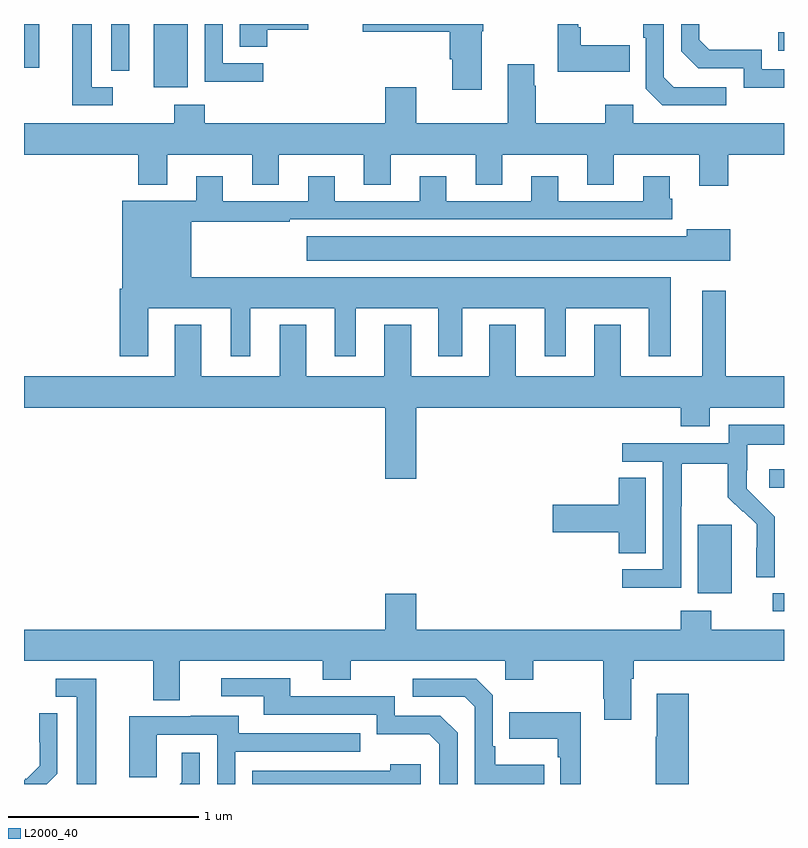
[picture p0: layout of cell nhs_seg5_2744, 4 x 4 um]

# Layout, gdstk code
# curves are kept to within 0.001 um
import gdstk
lib = gdstk.Library(unit=1e-6, precision=1e-09)
def R(c, l, rs):  # rectangles x0, y0, x1, y1
    for r in rs: c.add(gdstk.rectangle(r[:2], r[2:], *l))
def P(c, l, *ps):  # polygons
    for p in ps: c.add(gdstk.Polygon(p, *l))
L2000_40 = (2000, 40)

nhs_seg5_2744 = lib.new_cell('nhs_seg5_2744')
R(nhs_seg5_2744, L2000_40, [(274.941,835.707,275,835.803), (274.547,835.802,274.726,836.163), (274.923,836.358,275,836.455), (271.682,838.466,271.861,838.799), (271,838.569,271.081,838.799), (274.969,838.659,275,838.755)])
P(nhs_seg5_2744, L2000_40, [(275,838.56),(274.884,838.56),(274.884,838.663),(274.607,838.663),(274.554,838.716),(274.554,838.799),(274.458,838.799),(274.458,838.656),(274.548,838.566),(274.788,838.566),(274.788,838.464),(275,838.464)],
  [(274.187,838.687),(273.931,838.687),(273.931,838.783),(273.918,838.783),(273.918,838.799),(273.81,838.799),(273.81,838.547),(274.187,838.547)],
  [(274.696,838.467),(274.419,838.467),(274.368,838.518),(274.368,838.799),(274.26,838.799),(274.26,838.727),(274.272,838.727),(274.272,838.458),(274.359,838.371),(274.696,838.371)],
  [(272.26,838.593),(272.046,838.593),(272.046,838.799),(271.95,838.799),(271.95,838.495),(272.26,838.495)],
  [(271.554,838.706),(271.553,838.706),(271.553,838.799),(271.458,838.799),(271.458,838.552),(271.554,838.552)],
  [(272.279,838.769),(272.497,838.769),(272.497,838.799),(272.135,838.799),(272.135,838.678),(272.279,838.678)],
  [(271.468,838.467),(271.357,838.467),(271.357,838.799),(271.253,838.799),(271.253,838.371),(271.468,838.371)],
  [(273.409,838.761),(273.417,838.761),(273.417,838.799),(272.784,838.799),(272.784,838.757),(273.242,838.757),(273.242,838.613),(273.254,838.613),(273.254,838.452),(273.409,838.452)],
  [(274.706,838.112),(275,838.112),(275,838.276),(274.206,838.276),(274.206,838.375),(274.06,838.375),(274.06,838.276),(273.693,838.276),(273.693,838.475),(273.685,838.475),(273.685,838.588),(273.545,838.588),(273.545,838.276),(273.064,838.276),(273.064,838.465),(272.9,838.465),(272.9,838.276),(271.952,838.276),(271.952,838.375),(271.792,838.375),(271.792,838.276),(271,838.276),(271,838.112),(271.601,838.112),(271.601,837.953),(271.753,837.953),(271.753,838.112),(272.201,838.112),(272.201,837.952),(272.341,837.952),(272.341,838.112),(272.789,838.112),(272.789,837.952),(272.929,837.952),(272.929,838.112),(273.377,838.112),(273.377,837.952),(273.517,837.952),(273.517,838.112),(273.965,838.112),(273.965,837.952),(274.105,837.952),(274.105,838.112),(274.553,838.112),(274.553,837.948),(274.706,837.948)],
  [(271.654,837.302),(272.087,837.302),(272.087,837.051),(272.191,837.051),(272.191,837.302),(272.636,837.302),(272.636,837.051),(272.746,837.051),(272.746,837.302),(273.179,837.302),(273.179,837.051),(273.307,837.051),(273.307,837.302),(273.74,837.302),(273.74,837.051),(273.85,837.051),(273.85,837.302),(274.289,837.302),(274.289,837.051),(274.405,837.051),(274.405,837.466),(271.879,837.466),(271.879,837.759),(272.399,837.759),(272.399,837.771),(274.412,837.771),(274.412,837.879),(274.399,837.879),(274.399,837.997),(274.259,837.997),(274.259,837.867),(273.811,837.867),(273.811,837.997),(273.671,837.997),(273.671,837.867),(273.223,837.867),(273.223,837.997),(273.083,837.997),(273.083,837.867),(272.635,837.867),(272.635,837.997),(272.495,837.997),(272.495,837.867),(272.047,837.867),(272.047,837.997),(271.907,837.997),(271.907,837.868),(271.517,837.868),(271.517,837.406),(271.505,837.406),(271.505,837.051),(271.654,837.051)],
  [(274.717,837.718),(274.487,837.718),(274.487,837.682),(272.487,837.682),(272.487,837.554),(274.717,837.554)],
  [(273.064,836.78),(274.457,836.78),(274.457,836.681),(274.609,836.681),(274.609,836.78),(275,836.78),(275,836.944),(274.693,836.944),(274.693,837.394),(274.571,837.394),(274.571,836.944),(274.141,836.944),(274.141,837.217),(274.001,837.217),(274.001,836.944),(273.589,836.944),(273.589,837.217),(273.449,837.217),(273.449,836.944),(273.037,836.944),(273.037,837.217),(272.897,837.217),(272.897,836.944),(272.485,836.944),(272.485,837.217),(272.345,837.217),(272.345,836.944),(271.933,836.944),(271.933,837.217),(271.793,837.217),(271.793,836.944),(271,836.944),(271,836.78),(272.9,836.78),(272.9,836.406),(273.064,836.406)],
  [(274.458,836.26),(274.461,836.26),(274.461,836.484),(274.705,836.484),(274.705,836.309),(274.782,836.232),(274.785,836.235),(274.856,836.165),(274.856,836.042),(274.854,836.042),(274.854,835.888),(274.95,835.888),(274.95,836.206),(274.804,836.354),(274.804,836.451),(274.806,836.451),(274.806,836.585),(275,836.585),(275,836.689),(274.71,836.689),(274.71,836.592),(274.149,836.592),(274.149,836.496),(274.362,836.496),(274.362,835.929),(274.149,835.929),(274.149,835.831),(274.458,835.831)],
  [(274.273,836.411),(274.13,836.411),(274.13,836.27),(273.783,836.27),(273.783,836.123),(274.13,836.123),(274.13,836.014),(274.273,836.014)],
  [(274.195,835.352),(274.208,835.352),(274.208,835.448),(275,835.448),(275,835.612),(274.617,835.612),(274.617,835.711),(274.457,835.711),(274.457,835.612),(273.064,835.612),(273.064,835.801),(272.9,835.801),(272.9,835.612),(271,835.612),(271,835.448),(271.679,835.448),(271.679,835.24),(271.819,835.24),(271.819,835.448),(272.573,835.448),(272.573,835.349),(272.721,835.349),(272.721,835.448),(273.534,835.448),(273.534,835.349),(273.681,835.349),(273.681,835.448),(274.048,835.448),(274.048,835.249),(274.055,835.249),(274.055,835.137),(274.195,835.137)],
  [(273.282,835.068),(273.192,835.158),(272.952,835.158),(272.952,835.26),(272.401,835.26),(272.401,835.356),(272.037,835.356),(272.037,835.26),(272.261,835.26),(272.261,835.164),(272.856,835.164),(272.856,835.061),(273.133,835.061),(273.186,835.008),(273.186,834.799),(273.282,834.799)],
  [(271.381,835.353),(271.167,835.353),(271.167,835.257),(271.277,835.257),(271.277,834.799),(271.381,834.799)],
  [(273.737,834.901),(273.481,834.901),(273.481,834.997),(273.468,834.997),(273.468,835.266),(273.381,835.353),(273.045,835.353),(273.045,835.257),(273.321,835.257),(273.372,835.206),(273.372,834.799),(273.737,834.799)],
  [(274.499,835.273),(274.331,835.273),(274.331,835.049),(274.324,835.049),(274.324,834.799),(274.499,834.799)],
  [(273.931,835.177),(273.553,835.177),(273.553,835.037),(273.81,835.037),(273.81,834.941),(273.822,834.941),(273.822,834.799),(273.931,834.799)],
  [(271.176,834.854),(271.176,835.172),(271.08,835.172),(271.08,835.018),(271.082,835.018),(271.082,834.896),(271.011,834.825),(271.008,834.828),(271,834.82),(271,834.799),(271.121,834.799)],
  [(272.112,834.969),(272.771,834.969),(272.771,835.065),(272.131,835.065),(272.131,835.159),(271.877,835.159),(271.877,835.155),(271.553,835.155),(271.553,834.835),(271.698,834.835),(271.698,835.059),(272.016,835.059),(272.016,834.799),(272.112,834.799)],
  [(271.926,834.964),(271.829,834.964),(271.829,834.807),(271.821,834.799),(271.926,834.799)],
  [(273.088,834.904),(272.927,834.904),(272.927,834.87),(272.202,834.87),(272.202,834.799),(273.088,834.799)])

lib.write_gds('nhs_seg5_2744.gds')
